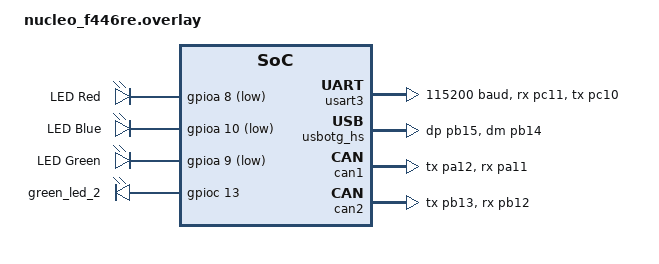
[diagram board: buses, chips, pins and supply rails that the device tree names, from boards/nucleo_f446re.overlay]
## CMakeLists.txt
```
#-------------------------------------------------------------------------------
# Zephyr Example Application
#
# Copyright (c) 2021 Nordic Semiconductor ASA
# SPDX-License-Identifier: Apache-2.0

cmake_minimum_required(VERSION 3.13.1)
find_package(Zephyr REQUIRED HINTS $ENV{ZEPHYR_BASE})

project(app LANGUAGES C)

target_sources(app PRIVATE 
    src/main.c
    src/tasks/appTask.c
    src/tasks/canTask.c

    src/helpers/ll.c
    src/helpers/bst.c
)
```

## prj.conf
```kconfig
# SHELL CONFIGURATION
CONFIG_LOG=y
CONFIG_SHELL=y
CONFIG_INIT_STACKS=y
CONFIG_KERNEL_SHELL=y
CONFIG_BOOT_BANNER_STRING="CAN Bus Logger"
CONFIG_DEVICE_SHELL=y
CONFIG_STATS=y
CONFIG_THREAD_RUNTIME_STATS=y
CONFIG_THREAD_RUNTIME_STATS_USE_TIMING_FUNCTIONS=y
CONFIG_SHELL_BACKEND_SERIAL=y
CONFIG_SHELL_WILDCARD=y

CONFIG_EVENTS=y

CONFIG_CAN=y

CONFIG_USB_DEVICE_STACK=y
CONFIG_USB_DEVICE_PRODUCT="Digism CAN Logger"
CONFIG_USB_DEVICE_MANUFACTURER="Digism Design"
CONFIG_USB_DEVICE_PID=0x0004
CONFIG_USB_DEVICE_VID=0x843e
CONFIG_USB_DEVICE_INITIALIZE_AT_BOOT=y
CONFIG_UART_INTERRUPT_DRIVEN=y
CONFIG_UART_LINE_CTRL=y
CONFIG_USB_MAX_POWER=250

CONFIG_ENTROPY_GENERATOR=y
CONFIG_TIMER_RANDOM_GENERATOR=y
CONFIG_TEST_RANDOM_GENERATOR=y

CONFIG_HEAP_MEM_POOL_SIZE=30000
```

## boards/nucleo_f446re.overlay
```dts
/ {
    chosen {
        zephyr,console = &usart3;
        zephyr,shell-uart = &usart3;
        zephyr,canbus = &can1;
    };
    leds {
        rgb_red: rgb_red {
            gpios = <&gpioa 8 GPIO_ACTIVE_LOW>;
            label = "LED Red";
        };
        rgb_blue: rgb_blue {
            gpios = <&gpioa 10 GPIO_ACTIVE_LOW>;
            label = "LED Blue";
        };
        rgb_green: rgb_green {
            gpios = <&gpioa 9 GPIO_ACTIVE_LOW>;
            label = "LED Green";
        };
    };
};

&usart3 {
    pinctrl-0 = <&usart3_rx_pc11 &usart3_tx_pc10>;
    pinctrl-names = "default";
    current-speed = <115200>;
    status = "okay";
};

&clk_hse {
    status = "disabled";
};

&usbotg_hs {
    pinctrl-0 = <&usb_otg_hs_dp_pb15 &usb_otg_hs_dm_pb14>;
    pinctrl-names = "default";
    status = "okay";
    usb_cdc: cdc-acm-uart {
        compatible = "zephyr,cdc-acm-uart";
        status = "okay";
        label = "CDC_ACM_0";
    };
};

&clk_hsi {
    status = "okay";
    clock-frequency = <DT_FREQ_M(16)>;
};

&pll {
    clocks = <&clk_hsi>;
    div-m = <16>;
};

&green_led_2 {
    gpios = <&gpioc 13 GPIO_ACTIVE_HIGH>;
};

&can1 {
    pinctrl-0 = <&can1_tx_pa12 &can1_rx_pa11>;
    status = "okay";
};

&can2 {
    pinctrl-0 = <&can2_tx_pb13 &can2_rx_pb12>;
    status = "okay";
};
```

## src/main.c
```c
#include <zephyr/kernel.h>
#include <zephyr/shell/shell.h>
#include "./tasks/canTask.h"
#include "zephyr/logging/log.h"
LOG_MODULE_REGISTER(main);

// Setup Blinky...
struct gpio_dt_spec led0 = GPIO_DT_SPEC_GET(DT_ALIAS(led0), gpios);
struct gpio_dt_spec rgb_red = GPIO_DT_SPEC_GET(DT_NODELABEL(rgb_red), gpios);
struct gpio_dt_spec rgb_green = GPIO_DT_SPEC_GET(DT_NODELABEL(rgb_green), gpios);
struct gpio_dt_spec rgb_blue = GPIO_DT_SPEC_GET(DT_NODELABEL(rgb_blue), gpios);

// Task Definitions
struct CANTask canTask;

// Thread Memory Instantiations
K_THREAD_STACK_DEFINE(can_task_data, 4096);

// Setup Timers
struct k_timer test_can_timer;
struct k_timer red_led_timer;
struct k_timer green_led_timer;
struct k_timer blue_led_timer;

void test_can_expiry_fn(struct k_timer *timer)
{
	CANTask_emit_test_can1_tx(&canTask);
	CANTask_emit_test_can2_tx(&canTask);
}

void red_led_expiry_fn(struct k_timer *timer)
{
	gpio_pin_toggle_dt(&rgb_red);
}

void green_led_expiry_fn(struct k_timer *timer)
{
	gpio_pin_toggle_dt(&rgb_green);
}

void blue_led_expiry_fn(struct k_timer *timer)
{
	gpio_pin_toggle_dt(&rgb_blue);
}

K_TIMER_DEFINE(test_can_timer, test_can_expiry_fn, NULL);
K_TIMER_DEFINE(red_led_timer, red_led_expiry_fn, NULL);
K_TIMER_DEFINE(green_led_timer, green_led_expiry_fn, NULL);
K_TIMER_DEFINE(blue_led_timer, blue_led_expiry_fn, NULL);

int main(void)
{

	// Initialize Threads
	CANTask_init(&canTask);

	// Start Thread Operation
	canTask.super.tid = k_thread_create(
		&canTask.super.thread,
		can_task_data, K_THREAD_STACK_SIZEOF(can_task_data),
		CANTask_thread, &canTask, NULL, NULL, 100, 0, K_NO_WAIT);

	// Setup Timers
	k_timer_start(&test_can_timer, K_NO_WAIT, K_MSEC(250));
//	k_timer_start(&red_led_timer, K_NO_WAIT, K_MSEC(325));
//	k_timer_start(&green_led_timer, K_NO_WAIT, K_MSEC(350));
//	k_timer_start(&blue_led_timer, K_NO_WAIT, K_MSEC(300));

	// Do the Blinky...
	gpio_pin_configure_dt(&led0, GPIO_OUTPUT_INACTIVE);
	gpio_pin_configure_dt(&rgb_red, GPIO_OUTPUT_INACTIVE);
	gpio_pin_configure_dt(&rgb_green, GPIO_OUTPUT_INACTIVE);
	gpio_pin_configure_dt(&rgb_blue, GPIO_OUTPUT_INACTIVE);

	while (1)
	{
		gpio_pin_toggle_dt(&led0);
		k_msleep(50);
	}
	return 0;
}
```
